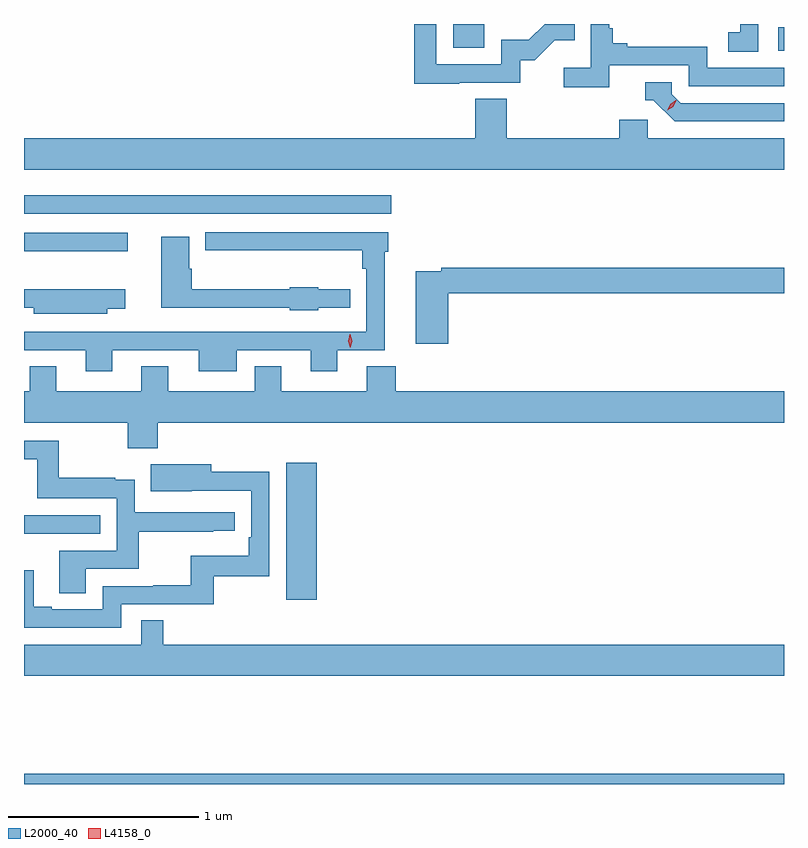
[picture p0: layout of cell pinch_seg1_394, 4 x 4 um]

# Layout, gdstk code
import gdstk
lib = gdstk.Library(unit=1e-6, precision=1e-09)
def R(c, l, rs):  # rectangles x0, y0, x1, y1
    for r in rs: c.add(gdstk.rectangle(r[:2], r[2:], *l))
def P(c, l, *ps):  # polygons
    for p in ps: c.add(gdstk.Polygon(p, *l))
L2000_40 = (2000, 40)
L4158_0 = (4158, 0)

pinch_seg1_394 = lib.new_cell('pinch_seg1_394')
R(pinch_seg1_394, L2000_40, [(986.459,521.858,990.459,521.912), (987.839,522.828,988,523.549), (986.459,523.176,986.861,523.272), (986.459,524.663,987.004,524.76), (986.459,524.859,988.393,524.956), (990.429,525.717,990.459,525.842), (988.718,525.732,988.882,525.858)])
P(pinch_seg1_394, L2000_40, [(988.751,525.549),(989.07,525.549),(989.07,525.666),(989.146,525.666),(989.253,525.773),(989.357,525.773),(989.357,525.858),(989.199,525.858),(989.115,525.774),(988.971,525.774),(988.971,525.645),(988.629,525.645),(988.629,525.858),(988.513,525.858),(988.513,525.544),(988.751,525.544)],
  [(989.54,525.642),(989.958,525.642),(989.958,525.531),(990.459,525.531),(990.459,525.627),(990.054,525.627),(990.054,525.739),(989.635,525.739),(989.635,525.758),(989.558,525.758),(989.558,525.835),(989.539,525.835),(989.539,525.858),(989.442,525.858),(989.442,525.628),(989.301,525.628),(989.301,525.526),(989.54,525.526)],
  [(990.324,525.858),(990.228,525.858),(990.228,525.815),(990.165,525.815),(990.165,525.712),(990.324,525.712)],
  [(990.459,525.441),(989.916,525.441),(989.868,525.489),(989.868,525.552),(989.729,525.552),(989.729,525.456),(989.772,525.456),(989.883,525.345),(990.459,525.345)],
  [(990.459,525.256),(989.742,525.256),(989.742,525.354),(989.591,525.354),(989.591,525.256),(989,525.256),(989,525.464),(988.835,525.464),(988.835,525.256),(986.459,525.256),(986.459,525.092),(990.459,525.092)],
  [(986.923,524.142),(987.38,524.142),(987.38,524.03),(987.58,524.03),(987.58,524.142),(987.968,524.142),(987.968,524.03),(988.108,524.03),(988.108,524.142),(988.357,524.142),(988.357,524.66),(988.376,524.66),(988.376,524.763),(987.413,524.763),(987.413,524.666),(988.24,524.666),(988.24,524.57),(988.26,524.57),(988.26,524.238),(986.459,524.238),(986.459,524.142),(986.783,524.142),(986.783,524.03),(986.923,524.03)],
  [(988.008,524.364),(988.175,524.364),(988.175,524.462),(988.008,524.462),(988.008,524.473),(987.858,524.473),(987.858,524.462),(987.341,524.462),(987.341,524.57),(987.328,524.57),(987.328,524.737),(987.182,524.737),(987.182,524.364),(987.858,524.364),(987.858,524.351),(988.008,524.351)],
  [(988.691,524.44),(990.459,524.44),(990.459,524.576),(988.654,524.576),(988.654,524.556),(988.52,524.556),(988.52,524.175),(988.691,524.175)],
  [(986.898,524.36),(986.992,524.36),(986.992,524.461),(986.614,524.461),(986.614,524.462),(986.459,524.462),(986.459,524.364),(986.51,524.364),(986.51,524.333),(986.898,524.333)],
  [(987.164,523.76),(990.459,523.76),(990.459,523.924),(988.415,523.924),(988.415,524.057),(988.262,524.057),(988.262,523.924),(987.814,523.924),(987.814,524.057),(987.674,524.057),(987.674,523.924),(987.217,523.924),(987.217,524.057),(987.077,524.057),(987.077,523.924),(986.629,523.924),(986.629,524.057),(986.489,524.057),(986.489,523.924),(986.459,523.924),(986.459,523.76),(987.004,523.76),(987.004,523.625),(987.164,523.625)],
  [(986.785,522.99),(987.062,522.99),(987.062,523.186),(987.455,523.186),(987.455,523.191),(987.568,523.191),(987.568,523.287),(987.042,523.287),(987.042,523.459),(986.939,523.459),(986.939,523.471),(986.641,523.471),(986.641,523.665),(986.459,523.665),(986.459,523.568),(986.53,523.568),(986.53,523.362),(986.946,523.362),(986.946,523.086),(986.645,523.086),(986.645,522.862),(986.785,522.862)],
  [(986.97,522.804),(987.457,522.804),(987.457,522.951),(987.75,522.951),(987.75,523.502),(987.445,523.502),(987.445,523.54),(987.127,523.54),(987.127,523.4),(987.341,523.4),(987.341,523.401),(987.654,523.401),(987.654,523.156),(987.641,523.156),(987.641,523.06),(987.336,523.06),(987.336,522.905),(987.139,522.905),(987.139,522.9),(986.874,522.9),(986.874,522.777),(986.605,522.777),(986.605,522.79),(986.509,522.79),(986.509,522.983),(986.459,522.983),(986.459,522.681),(986.97,522.681)],
  [(990.459,522.592),(987.191,522.592),(987.191,522.719),(987.075,522.719),(987.075,522.592),(986.459,522.592),(986.459,522.428),(990.459,522.428)])
P(pinch_seg1_394, L4158_0, [(989.844,525.403),(989.844,525.403),(989.86,525.436),(989.89,525.456),(989.891,525.456),(989.891,525.456),(989.875,525.423),(989.845,525.403)],
  [(988.177,524.153),(988.177,524.153),(988.166,524.189),(988.174,524.225),(988.174,524.225),(988.175,524.225),(988.186,524.189),(988.177,524.153)])

lib.write_gds('pinch_seg1_394.gds')
